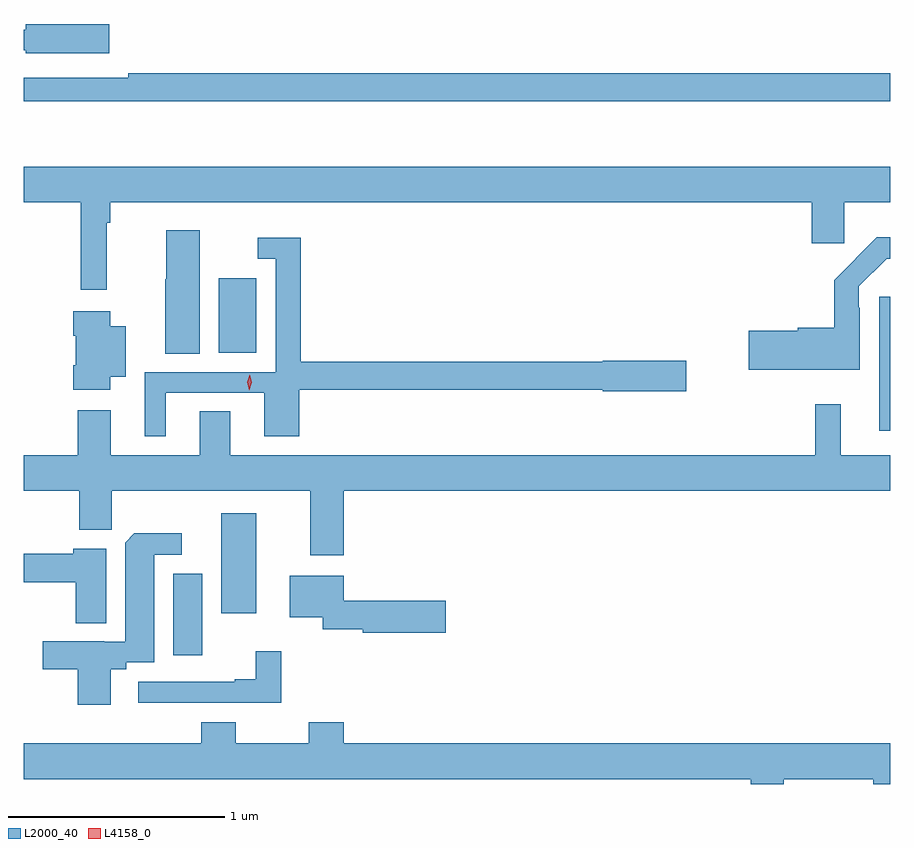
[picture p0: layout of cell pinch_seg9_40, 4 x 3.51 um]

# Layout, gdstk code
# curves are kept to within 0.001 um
import gdstk
lib = gdstk.Library(unit=1e-6, precision=1e-09)
def R(c, l, rs):  # rectangles x0, y0, x1, y1
    for r in rs: c.add(gdstk.rectangle(r[:2], r[2:], *l))
def P(c, l, *ps):  # polygons
    for p in ps: c.add(gdstk.Polygon(p, *l))
L2000_40 = (2000, 40)
L4158_0 = (4158, 0)

pinch_seg9_40 = lib.new_cell('pinch_seg9_40')
R(pinch_seg9_40, L2000_40, [(1006.52,1234.287,1006.654,1234.663), (1006.742,1234.482,1006.903,1234.942), (1009.779,1235.325,1009.83,1235.943), (1006.73,1235.684,1006.903,1236.028)])
P(pinch_seg9_40, L2000_40, [(1006.225,1237.202),(1005.84,1237.202),(1005.84,1237.176),(1005.83,1237.176),(1005.83,1237.08),(1005.84,1237.08),(1005.84,1237.067),(1006.225,1237.067)],
  [(1009.83,1236.974),(1006.312,1236.974),(1006.312,1236.954),(1005.83,1236.954),(1005.83,1236.846),(1009.83,1236.846)],
  [(1006.214,1236.284),(1006.229,1236.284),(1006.229,1236.38),(1009.469,1236.38),(1009.469,1236.189),(1009.619,1236.189),(1009.619,1236.38),(1009.83,1236.38),(1009.83,1236.544),(1005.83,1236.544),(1005.83,1236.38),(1006.093,1236.38),(1006.093,1235.976),(1006.214,1235.976)],
  [(1006.642,1236.25),(1006.487,1236.25),(1006.487,1236.024),(1006.484,1236.024),(1006.484,1235.68),(1006.642,1235.68)],
  [(1009.689,1235.891),(1009.686,1235.891),(1009.686,1235.991),(1009.814,1236.119),(1009.83,1236.119),(1009.83,1236.217),(1009.768,1236.217),(1009.571,1236.019),(1009.571,1235.8),(1009.404,1235.8),(1009.404,1235.786),(1009.176,1235.786),(1009.176,1235.606),(1009.689,1235.606)],
  [(1006.486,1235.499),(1006.94,1235.499),(1006.94,1235.298),(1007.102,1235.298),(1007.102,1235.514),(1008.504,1235.514),(1008.504,1235.506),(1008.889,1235.506),(1008.889,1235.648),(1008.504,1235.648),(1008.504,1235.642),(1007.108,1235.642),(1007.108,1236.214),(1006.911,1236.214),(1006.911,1236.117),(1006.992,1236.117),(1006.992,1235.595),(1006.388,1235.595),(1006.388,1235.298),(1006.486,1235.298)],
  [(1006.228,1235.573),(1006.3,1235.573),(1006.3,1235.806),(1006.228,1235.806),(1006.228,1235.875),(1006.058,1235.875),(1006.058,1235.762),(1006.07,1235.762),(1006.07,1235.626),(1006.058,1235.626),(1006.058,1235.514),(1006.228,1235.514)],
  [(1007.306,1235.048),(1009.83,1235.048),(1009.83,1235.212),(1009.601,1235.212),(1009.601,1235.446),(1009.483,1235.446),(1009.483,1235.212),(1006.783,1235.212),(1006.783,1235.414),(1006.643,1235.414),(1006.643,1235.212),(1006.231,1235.212),(1006.231,1235.419),(1006.079,1235.419),(1006.079,1235.212),(1005.83,1235.212),(1005.83,1235.048),(1006.085,1235.048),(1006.085,1234.866),(1006.235,1234.866),(1006.235,1235.048),(1007.153,1235.048),(1007.153,1234.749),(1007.306,1234.749)],
  [(1006.231,1234.222),(1006.302,1234.222),(1006.302,1234.254),(1006.432,1234.254),(1006.432,1234.752),(1006.558,1234.752),(1006.558,1234.85),(1006.34,1234.85),(1006.298,1234.808),(1006.298,1234.35),(1005.918,1234.351),(1005.918,1234.222),(1006.079,1234.222),(1006.079,1234.059),(1006.231,1234.059)],
  [(1006.21,1234.78),(1006.058,1234.78),(1006.058,1234.755),(1005.83,1234.755),(1005.83,1234.625),(1006.07,1234.625),(1006.07,1234.436),(1006.21,1234.436)],
  [(1007.779,1234.538),(1007.307,1234.538),(1007.307,1234.654),(1007.057,1234.654),(1007.057,1234.463),(1007.211,1234.463),(1007.211,1234.408),(1007.394,1234.408),(1007.394,1234.391),(1007.779,1234.391)],
  [(1007.018,1234.306),(1006.9,1234.306),(1006.9,1234.177),(1006.805,1234.177),(1006.805,1234.164),(1006.359,1234.164),(1006.359,1234.068),(1007.018,1234.068)],
  [(1009.339,1233.716),(1009.751,1233.716),(1009.751,1233.693),(1009.83,1233.693),(1009.83,1233.88),(1007.306,1233.88),(1007.306,1233.979),(1007.146,1233.979),(1007.146,1233.88),(1006.809,1233.88),(1006.809,1233.979),(1006.649,1233.979),(1006.649,1233.88),(1005.83,1233.88),(1005.83,1233.716),(1009.187,1233.716),(1009.187,1233.693),(1009.339,1233.693)])
P(pinch_seg9_40, L4158_0, [(1006.87,1235.511),(1006.862,1235.548),(1006.874,1235.583),(1006.874,1235.583),(1006.874,1235.583),(1006.882,1235.547),(1006.871,1235.511),(1006.871,1235.511)])

lib.write_gds('pinch_seg9_40.gds')
